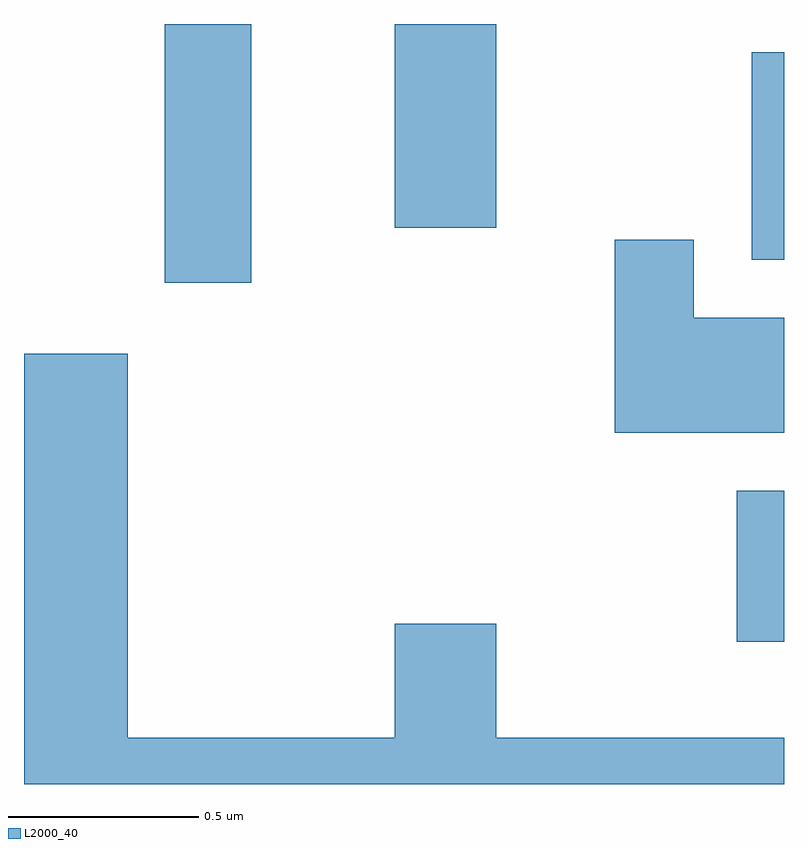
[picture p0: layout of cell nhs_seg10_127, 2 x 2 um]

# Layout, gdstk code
import gdstk
lib = gdstk.Library(unit=1e-6, precision=1e-09)
def R(c, l, rs):  # rectangles x0, y0, x1, y1
    for r in rs: c.add(gdstk.rectangle(r[:2], r[2:], *l))
def P(c, l, *ps):  # polygons
    for p in ps: c.add(gdstk.Polygon(p, *l))
L2000_40 = (2000, 40)

nhs_seg10_127 = lib.new_cell('nhs_seg10_127')
R(nhs_seg10_127, L2000_40, [(187.486,2209.896,187.611,2210.294), (185.981,2210.841,186.209,2211.522), (187.526,2210.901,187.611,2211.448), (186.586,2210.986,186.854,2211.522)])
P(nhs_seg10_127, L2000_40, [(187.611,2210.749),(187.374,2210.749),(187.374,2210.954),(187.166,2210.954),(187.166,2210.446),(187.611,2210.446)],
  [(187.611,2209.644),(186.854,2209.644),(186.854,2209.944),(186.586,2209.944),(186.586,2209.644),(185.884,2209.644),(185.884,2210.654),(185.611,2210.654),(185.611,2209.522),(187.611,2209.522)])

lib.write_gds('nhs_seg10_127.gds')
